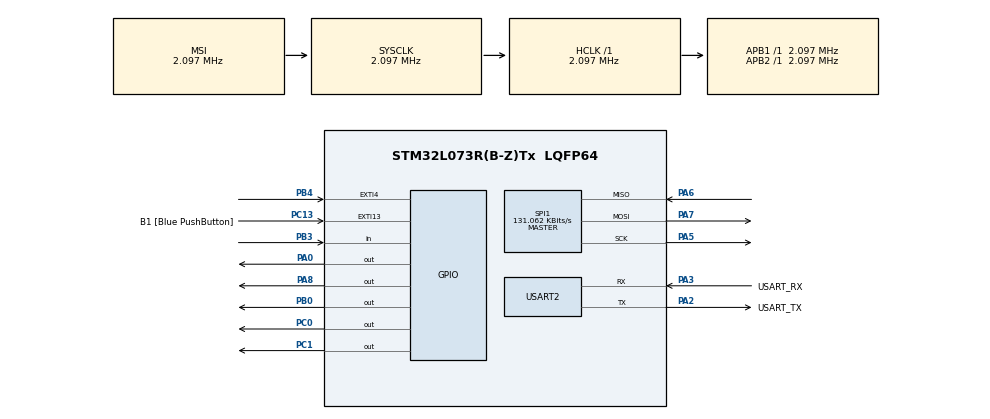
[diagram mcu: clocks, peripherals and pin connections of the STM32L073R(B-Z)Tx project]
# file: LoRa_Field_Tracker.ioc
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Mcu.Family=STM32L0
Mcu.Name=STM32L073R(B-Z)Tx
Mcu.Package=LQFP64
NVIC.EXTI4_15_IRQn=true\:0\:0\:false\:false\:true\:true\:true\:true
NVIC.USART2_IRQn=true\:0\:0\:false\:false\:true\:true\:true\:true
PA0.PinState=GPIO_PIN_SET
PA0.Signal=GPIO_Output
PA13.GPIO_Label=TMS
PA13.Mode=Serial_Wire
PA13.Signal=SYS_SWDIO
PA14.GPIO_Label=TCK
PA14.Mode=Serial_Wire
PA14.Signal=SYS_SWCLK
PA2.GPIO_Label=USART_TX
PA2.Mode=Asynchronous
PA2.Signal=USART2_TX
PA3.GPIO_Label=USART_RX
PA3.Mode=Asynchronous
PA3.Signal=USART2_RX
PA5.Mode=Full_Duplex_Master
PA5.Signal=SPI1_SCK
PA6.Mode=Full_Duplex_Master
PA6.Signal=SPI1_MISO
PA7.Mode=Full_Duplex_Master
PA7.Signal=SPI1_MOSI
PA8.PinState=GPIO_PIN_SET
PA8.Signal=GPIO_Output
PB0.Signal=GPIO_Output
PB3.GPIO_PuPd=GPIO_NOPULL
PB3.Signal=GPIO_Input
PB4.GPIO_PuPd=GPIO_NOPULL
PB4.Signal=GPXTI4
PC0.PinState=GPIO_PIN_RESET
PC0.Signal=GPIO_Output
PC1.PinState=GPIO_PIN_RESET
PC1.Signal=GPIO_Output
PC13.GPIO_Label=B1 [Blue PushButton]
PC13.GPIO_ModeDefaultEXTI=GPIO_MODE_IT_FALLING
PC13.Signal=GPXTI13
PC14-OSC32_IN.Mode=LSE-External-Oscillator
PC14-OSC32_IN.Signal=RCC_OSC32_IN
PC15-OSC32_OUT.Mode=LSE-External-Oscillator
PC15-OSC32_OUT.Signal=RCC_OSC32_OUT
PH0-OSC_IN.GPIO_Label=MCO
PH0-OSC_IN.Signal=RCC_OSC_IN
ProjectManager.HeapSize=0x200
ProjectManager.StackSize=0x400
ProjectManager.TargetToolchain=STM32CubeIDE
RCC.AHBFreq_Value=2097000
RCC.APB1Freq_Value=2097000
RCC.APB1TimFreq_Value=2097000
RCC.APB2Freq_Value=2097000
RCC.APB2TimFreq_Value=2097000
RCC.HSE_VALUE=8000000
RCC.HSI16_VALUE=16000000
RCC.HSI48_VALUE=48000000
RCC.HSI_VALUE=16000000
RCC.MSI_VALUE=2097000
RCC.SYSCLKFreq_VALUE=2097000
RCC.VCOOutputFreq_Value=48000000
SPI1.BaudRatePrescaler=SPI_BAUDRATEPRESCALER_16
SPI1.CalculateBaudRate=131.062 KBits/s
SPI1.Direction=SPI_DIRECTION_2LINES
SPI1.Mode=SPI_MODE_MASTER
SPI1.VirtualType=VM_MASTER
USART2.VirtualMode-Asynchronous=VM_ASYNC
VP_LPTIM1_VS_LPTIM_counterModeInternalClock.Mode=Counts__internal_clock_event_00
board=NUCLEO-L073RZ

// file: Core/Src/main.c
/* USER CODE BEGIN Header */
/**
  ******************************************************************************
  * @file           : main.c
  * @brief          : Main program body
  ******************************************************************************
  * @attention
  *
  * Copyright (c) 2025 STMicroelectronics.
  * All rights reserved.
  *
  * This software is licensed under terms that can be found in the LICENSE file
  * in the root directory of this software component.
  * If no LICENSE file comes with this software, it is provided AS-IS.
  *
  ******************************************************************************
  */
/* USER CODE END Header */
#include "main.h"
#include "lptim.h"
#include "spi.h"
#include "usart.h"
#include "gpio.h"

/* USER CODE BEGIN Includes */
#include <stdio.h>
#include "radio.h"
#include "sx1280.h"
#include "hw.h"
#include "sx1280-hal.h"

/* USER CODE END Includes */

/* USER CODE BEGIN PD */

// Define MASTER or SLAVE in project settings
int DEMO_SETTING_ENTITY = 1; // 1 master, 0 slave

// Common parameters
#define RF_FREQUENCY         2402000000UL  // Hz
#define TX_POWER             13          // dBm (max)
#define ADDRESS              0x10000000  // 32-bit device address
#define CALIBRATION_VALUE    13000       // Example value for SF10

// Modulation Parameters (SF6, BW 1.6 MHz, CR 4/5)

ModulationParams_t mod_params = {
    .PacketType = PACKET_TYPE_RANGING,
    .Params.LoRa = {
        .SpreadingFactor = LORA_SF7,
        .Bandwidth = LORA_BW_1600,
        .CodingRate = LORA_CR_4_7
    }
};

// Packet Parameters (40 symbol preamble, explicit header)
PacketParams_t packet_params = {
    .PacketType = PACKET_TYPE_RANGING,
    .Params.LoRa = {
        .PreambleLength = 32u,
        .HeaderType = LORA_PACKET_VARIABLE_LENGTH,
        .CrcMode = LORA_CRC_ON,
        .InvertIQ = LORA_IQ_NORMAL
    }
};

uint16_t irqMaskM = IRQ_RANGING_MASTER_RESULT_VALID | IRQ_RANGING_MASTER_RESULT_TIMEOUT;
uint16_t irqMaskS = IRQ_RANGING_SLAVE_REQUEST_VALID|IRQ_RANGING_SLAVE_RESPONSE_DONE;

uint16_t last_status = 0;

/* USER CODE END PD */

void SystemClock_Config(void);

/* USER CODE BEGIN 0 */
// Retarget printf to UART2 (for PuTTY)
int __io_putchar(int ch) {
	HAL_UART_Transmit(&huart2, (uint8_t*) &ch, 1, 1000);
	return ch;
}

void HAL_GPIO_EXTI_Callback(uint16_t GPIO_Pin) {
    if (GPIO_Pin == GPIO_PIN_4) { // PB4 (DIO1, etc.)
        //printf("IRQ FIRED! Status = 0x%04X\n", Radio.GetIrqStatus());
        uint16_t irqStatus = SX1280GetIrqStatus();
        SX1280ClearIrqStatus(IRQ_RADIO_ALL); // Clear all IRQ flags

        if (irqStatus & IRQ_TX_DONE)
            printf("TX Done\n");
        if (irqStatus & IRQ_RX_DONE)
            printf("RX Done\n");
        if (irqStatus & IRQ_SYNCWORD_VALID)
            printf("Syncword Valid\n");
        if (irqStatus & IRQ_SYNCWORD_ERROR)
            printf("Syncword Error\n");
        if (irqStatus & IRQ_HEADER_VALID)
            printf("Header Valid\n");
        if (irqStatus & IRQ_HEADER_ERROR)
            printf("Header Error\n");
        if (irqStatus & IRQ_CRC_ERROR)
            printf("CRC Error\n");
        if (irqStatus & IRQ_RANGING_SLAVE_RESPONSE_DONE)
            printf("Ranging Slave Response Done\n");
        if (irqStatus & IRQ_RANGING_SLAVE_REQUEST_DISCARDED)
            printf("Ranging Slave Request Discarded\n");
        if (irqStatus & IRQ_RANGING_MASTER_RESULT_VALID)
            printf("Ranging Master Result Valid\n");
        if (irqStatus & IRQ_RANGING_MASTER_RESULT_TIMEOUT)
            printf("Ranging Master Result Timeout\n");
        if (irqStatus & IRQ_RANGING_SLAVE_REQUEST_VALID)
            printf("Ranging Slave Request Valid\n");
        if (irqStatus & IRQ_CAD_DONE)
            printf("CAD Done\n");
        if (irqStatus & IRQ_CAD_ACTIVITY_DETECTED)
            printf("CAD Activity Detected\n");
        if (irqStatus & IRQ_RX_TX_TIMEOUT)
            printf("RX/TX Timeout\n");
        if (irqStatus & IRQ_PREAMBLE_DETECTED)
            printf("Preamble Detected\n");
    }
}

/* USER CODE END 0 */

int main(void)
{

  /* MCU Configuration--------------------------------------------------------*/

  /* Reset of all peripherals, Initializes the Flash interface and the Systick. */
  HAL_Init();

  /* Configure the system clock */
  SystemClock_Config();

  /* Initialize all configured peripherals */
  MX_GPIO_Init();
  MX_USART2_UART_Init();
  MX_LPTIM1_Init();
  MX_SPI1_Init();
  /* USER CODE BEGIN 2 */

  if(DEMO_SETTING_ENTITY){
	  printf("MASTER Starting...\n");
  }else {
	  printf("SLAVE Starting...\n");
  }

  // 1. Reset Radio
  printf("Resetting radio...\r\n");
  SX1280HalReset();

  // 2. Basic Radio Check
  printf("Reading firmware...\r\n");
  uint16_t fw_version = Radio.GetFirmwareVersion();
  printf("Firmware: 0x%04X\r\n", fw_version);

  // vs

  uint16_t reg = 0x153;
  uint8_t txData[4];
  uint8_t rxData[3];

  txData[0] = 0x19; // Read Register Command (0x1D)
  txData[1] = (uint8_t)(reg >> 8);      // High Byte of Address
  txData[2] = (uint8_t)(reg & 0xFF);    // Low Byte of Address
  txData[3] = 0x00;                     // Dummy Byte for Clocking Data Out

  HAL_StatusTypeDef txStatus;
  HAL_StatusTypeDef rxStatus;

  HAL_GPIO_WritePin(GPIOA, GPIO_PIN_8, GPIO_PIN_RESET);
  txStatus = HAL_SPI_Transmit(&hspi1, txData, 3, HAL_MAX_DELAY);
  rxStatus = HAL_SPI_Receive(&hspi1, rxData, 3, HAL_MAX_DELAY);
  HAL_GPIO_WritePin(GPIOA, GPIO_PIN_8, GPIO_PIN_SET);

  printf("Firmware: 0x%X 0x%X\r\n", rxData[1], rxData[2]);

     // ... rest of init ...

  SX1280SetStandby(STDBY_RC);
  SX1280SetPacketType(PACKET_TYPE_RANGING);
  SX1280SetModulationParams(&mod_params);
  SX1280SetPacketParams(&packet_params);

  // 5. Configure RF
  SX1280SetRfFrequency(RF_FREQUENCY); // 2.403 GHz
  SX1280SetTxParams(13, RADIO_RAMP_20_US);

  // Set calibration (adjust based on SF)
  //SX1280SetRangingCalibration(13528); // found in demoRanging.c

  // Additional SF & FEC Configuration (Datasheet Page 131)
  SX1280HalWriteRegister(0x925, 0x37);  // SetAdditionalSFConf
  SX1280HalWriteRegister(0x093C, 0x01);  // SetFECR

  if(DEMO_SETTING_ENTITY){
	  // 3. Set Slave Address
	  SX1280SetRangingRequestAddress(ADDRESS);

	  // Master configuration: enable both IRQs, and route RangingMasterResultValid to DIO1.
	  SX1280SetDioIrqParams(irqMaskM,
			  irqMaskM,  // Route primary event to DIO1
			  IRQ_RADIO_NONE,                               // No IRQ on DIO2
			  IRQ_RADIO_NONE);                              // No IRQ on DIO3

	  // With full 16-bit calibration:
	  SX1280HalWriteRegister(0x92C, 0x34);  // High byte
	  //SX1280HalWriteRegister(0x92D, 0xD8);  // Low byte

	  SX1280SetRangingRole(RADIO_RANGING_ROLE_MASTER);
	  SX1280SetTx(RX_TX_CONTINUOUS);

  } else {

	  // 3. Set Own Address
	  SX1280SetDeviceRangingAddress(ADDRESS);
	  SX1280SetRangingIdLength(RANGING_IDCHECK_LENGTH_32_BITS);
	  uint32_t length = Radio.ReadRegister(0x931);
	  printf("Length 0x%08lX\n", (unsigned long)length);

	  // Slave configuration: enable both IRQs, and route RangingSlaveResponseDone to DIO1.
	  SX1280SetDioIrqParams(irqMaskS,
			  irqMaskS, // Route the response done event to DIO1
			  IRQ_RADIO_NONE,                              // No IRQ on DIO2
			  IRQ_RADIO_NONE);                             // No IRQ on DIO3

	  // With full 16-bit calibration:
	  SX1280HalWriteRegister(0x92C, 0x34);  // High byte
	  //SX1280HalWriteRegister(0x92D, 0xD8);  // Low byte

	  SX1280SetRangingRole(RADIO_RANGING_ROLE_SLAVE);
	  SX1280SetRx(RX_TX_CONTINUOUS);
  }

  GpioWrite(LED_TX_PORT, LED_TX_PIN, 1);

  // more debuggies

  HAL_Delay(10); // a short delay might help
  // After all configurations, add:
  printf("\n=== Critical Register Verification ===\n");

  // Verify SF Configuration (0x925)
  uint8_t sf_conf = Radio.ReadRegister(0x925);
  printf("SF Config (0x925): 0x%02X %s\n",
         sf_conf,
         (sf_conf == 0x37) ? "(OK-SF7)" :
         (sf_conf == 0x1E) ? "(OK-SF5/6)" :
         (sf_conf == 0x32) ? "(OK-SF9-12)" : "(WRONG!)");

  // Verify FEC Configuration (0x093C)
  uint8_t fec_conf = Radio.ReadRegister(0x093C);
  printf("FEC Config (0x093C): 0x%02X %s\n",
         fec_conf,
         (fec_conf == 0x01) ? "(OK)" : "(WRONG!)");

  // Verify Calibration Value
  uint8_t cal_high = Radio.ReadRegister(0x92C);
  uint8_t cal_low = Radio.ReadRegister(0x92D);
  uint16_t full_cal = (cal_high << 8) | cal_low;
  printf("Calibration (0x92C-0x92D): 0x%04X %s\n",
         full_cal,
         (full_cal == 0x34D8) ? "(OK-SF7/BW1600)" : "(WRONG!)");

  // Verify Address Registers
  if(DEMO_SETTING_ENTITY) {
      uint8_t addr[4];
      addr[0] = Radio.ReadRegister(0x912);
      addr[1] = Radio.ReadRegister(0x913);
      addr[2] = Radio.ReadRegister(0x914);
      addr[3] = Radio.ReadRegister(0x915);
      printf("Master Address: 0x%02X%02X%02X%02X\n",
             addr[0], addr[1], addr[2], addr[3]);
  } else {
      uint8_t addr[4];
      addr[0] = Radio.ReadRegister(0x916);
      addr[1] = Radio.ReadRegister(0x917);
      addr[2] = Radio.ReadRegister(0x918);
      addr[3] = Radio.ReadRegister(0x919);
      printf("Slave Address: 0x%02X%02X%02X%02X\n",
             addr[0], addr[1], addr[2], addr[3]);
  }

  // end debuggies

  /* USER CODE END 2 */

  /* Infinite loop */
  while (1)
  {

    /* USER CODE BEGIN 3 */

	  //more debuggies

	  // In main loop

	  uint16_t current_status = SX1280GetIrqStatus();
	  SX1280ClearIrqStatus(IRQ_RADIO_ALL); // Clear all IRQ flags
	  if(last_status != current_status){
		  if (current_status & IRQ_RANGING_MASTER_RESULT_VALID)
			  printf("Ranging Master Result Valid\n");
		  if (current_status & IRQ_RANGING_MASTER_RESULT_TIMEOUT)
			  printf("Ranging Master Result Timeout\n");
		  last_status = current_status;
	  }

	  //end debuggies

  }
  /* USER CODE END 3 */
}

void SystemClock_Config(void)
{
  RCC_OscInitTypeDef RCC_OscInitStruct = {0};
  RCC_ClkInitTypeDef RCC_ClkInitStruct = {0};
  RCC_PeriphCLKInitTypeDef PeriphClkInit = {0};

  /** Configure the main internal regulator output voltage
  */
  __HAL_PWR_VOLTAGESCALING_CONFIG(PWR_REGULATOR_VOLTAGE_SCALE1);

  /** Initializes the RCC Oscillators according to the specified parameters
  * in the RCC_OscInitTypeDef structure.
  */
  RCC_OscInitStruct.OscillatorType = RCC_OSCILLATORTYPE_MSI;
  RCC_OscInitStruct.MSIState = RCC_MSI_ON;
  RCC_OscInitStruct.MSICalibrationValue = 0;
  RCC_OscInitStruct.MSIClockRange = RCC_MSIRANGE_5;
  RCC_OscInitStruct.PLL.PLLState = RCC_PLL_NONE;
  if (HAL_RCC_OscConfig(&RCC_OscInitStruct) != HAL_OK)
  {
    Error_Handler();
  }

  /** Initializes the CPU, AHB and APB buses clocks
  */
  RCC_ClkInitStruct.ClockType = RCC_CLOCKTYPE_HCLK|RCC_CLOCKTYPE_SYSCLK
                              |RCC_CLOCKTYPE_PCLK1|RCC_CLOCKTYPE_PCLK2;
  RCC_ClkInitStruct.SYSCLKSource = RCC_SYSCLKSOURCE_MSI;
  RCC_ClkInitStruct.AHBCLKDivider = RCC_SYSCLK_DIV1;
  RCC_ClkInitStruct.APB1CLKDivider = RCC_HCLK_DIV1;
  RCC_ClkInitStruct.APB2CLKDivider = RCC_HCLK_DIV1;

  if (HAL_RCC_ClockConfig(&RCC_ClkInitStruct, FLASH_LATENCY_0) != HAL_OK)
  {
    Error_Handler();
  }
  PeriphClkInit.PeriphClockSelection = RCC_PERIPHCLK_USART2|RCC_PERIPHCLK_LPTIM1;
  PeriphClkInit.Usart2ClockSelection = RCC_USART2CLKSOURCE_PCLK1;
  PeriphClkInit.LptimClockSelection = RCC_LPTIM1CLKSOURCE_PCLK;

  if (HAL_RCCEx_PeriphCLKConfig(&PeriphClkInit) != HAL_OK)
  {
    Error_Handler();
  }
}

void Error_Handler(void)
{
  __disable_irq();
  while (1)
  {
  }
}
